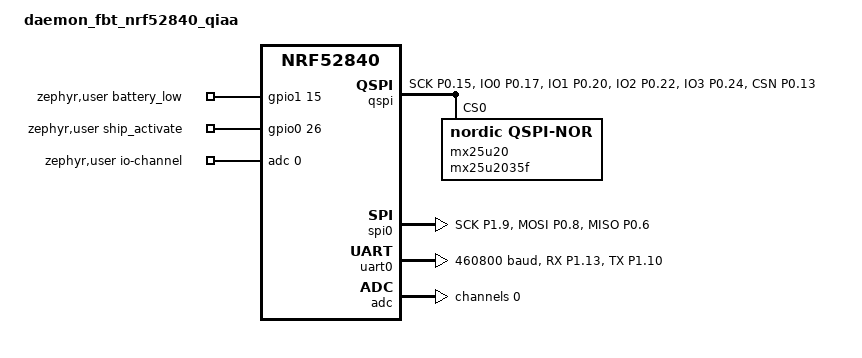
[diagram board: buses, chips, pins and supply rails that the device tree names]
// Copyright (c) 2024 Nordic Semiconductor ASA
// SPDX-License-Identifier: Apache-2.0

/dts-v1/;
#include <nordic/nrf52840_qiaa.dtsi>

/ {
	model = "daemon_fbt_nrf52840_qiaa";
	compatible = "daemon,daemon-fbt-nrf52840-qiaa";

	chosen {
		zephyr,console = &uart0;
		zephyr,uart-mcumgr = &uart0;
		zephyr,sram = &sram0;
		zephyr,flash = &flash0;
		zephyr,code-partition = &slot0_partition;
	};

	aliases {
		spi-flash0 = &mx25u20;
	};

	reserved-memory {
		#address-cells = <1>;
		#size-cells = <1>;
		ranges;
	};

	zephyr,user {
		io-channels = <&adc 0>;
		battery_low-gpios = <&gpio1 15 0>;
		ship_activate-gpios = <&gpio0 26 0>;
	};
};

&flash0 {
	partitions {
		compatible = "fixed-partitions";
		#address-cells = <1>;
		#size-cells = <1>;

		boot_partition: partition@0 {
			label = "mcuboot";
			reg = <0x0 0xc000>;
		};
		slot0_partition: partition@c000 {
			label = "image-0";
			reg = <0xc000 0x72000>;
		};
		slot1_partition: partition@7e000 {
			label = "image-1";
			reg = <0x7e000 0x72000>;
		};
		scratch_partition: partition@f0000 {
			label = "image-scratch";
			reg = <0xf0000 0xa000>;
		};
		storage_partition: partition@fa000 {
			label = "storage";
			reg = <0xfa000 0x6000>;
		};
	};
};

&gpio1 {
	status = "okay";
};

&qspi {
	status = "okay";
	pinctrl-0 = <&qspi_default>;
	pinctrl-names = "default";
	mx25u20: mx25u2035f@0 {
		compatible = "nordic,qspi-nor";
		reg = <0>;
		/* MX25U20 supports only pp and pp4io */
		writeoc = "pp4io";
		/* MX25U20 supports all readoc options */
		readoc = "read4io";
		sck-frequency = <32000000>;
		jedec-id = [c2 25 32];
		sfdp-bfp = [
			e5 20 f1 ff  ff ff 1f 00  44 eb 08 6b
			ee ff ff ff  ff ff 00 ff  ff ff 00 f2
			10 d8 00 ff  23 72 f5 00  82 ed 04 a4
			30 b0 30 b0  f7 c4 d5 5c  00 be 29 ff
		];
		size = <2097152>;
		t-enter-dpd = <10000>;
		t-exit-dpd = <35000>;
		partitions {
			compatible = "fixed-partitions";
			#address-cells = <1>;
			#size-cells = <1>;
		};
	};
};

imu_gpio: &gpio0 {
	compatible = "nordic,nrf-gpio";
	status = "okay";
	port = <0>;
};

imu_spi: &spi0 {
	compatible = "nordic,nrf-spim";
	status = "okay";
	pinctrl-0 = <&spi1_default>;
	pinctrl-names = "default";
	cs-gpios = <&gpio0 12 GPIO_ACTIVE_LOW>;
	// bhi360: spi-device@0 {
	// 	compatible = "daemon,spi-device";
	// 	reg = <0>;
	// 	spi-max-frequency = <4000000>;
	// };
};

&pinctrl {
	spi1_default: spi0_default {
		group1 {
			psels = <NRF_PSEL(SPIM_SCK, 1, 9)>,
					<NRF_PSEL(SPIM_MOSI, 0, 8)>,
					<NRF_PSEL(SPIM_MISO, 0, 6)>;
		};
	};

	qspi_default: qspi_default {
		group1 {
			psels = <NRF_PSEL(QSPI_SCK, 0, 15)>,
					<NRF_PSEL(QSPI_IO0, 0, 17)>,
					<NRF_PSEL(QSPI_IO1, 0, 20)>,
					<NRF_PSEL(QSPI_IO2, 0, 22)>,
					<NRF_PSEL(QSPI_IO3, 0, 24)>,
					<NRF_PSEL(QSPI_CSN, 0, 13)>;
			nordic,drive-mode = <NRF_DRIVE_H0H1>;
		};
	};

	uart0_default: uart0_default {
		group1 {
			psels = <NRF_PSEL(UART_RX, 1, 13)>, <NRF_PSEL(UART_TX, 1, 10)>;
		};
	};
};

&uart0 {
	status = "okay";
	pinctrl-0 = <&uart0_default>;
	pinctrl-names = "default";
	current-speed = <460800>;
};

&adc {
	status = "okay";
	#address-cells = <1>;
	#size-cells = <0>;

	// max input = ref/gain = 0.6V/(1/3) = 1.8V
	channel@0 {
		reg = <0>;
		zephyr,gain = "ADC_GAIN_1_3";
		zephyr,reference = "ADC_REF_INTERNAL"; // 0.6V
		zephyr,acquisition-time = <ADC_ACQ_TIME_DEFAULT>;
		zephyr,input-positive = <NRF_SAADC_AIN0>;
		zephyr,resolution = <8>;
	};
};
